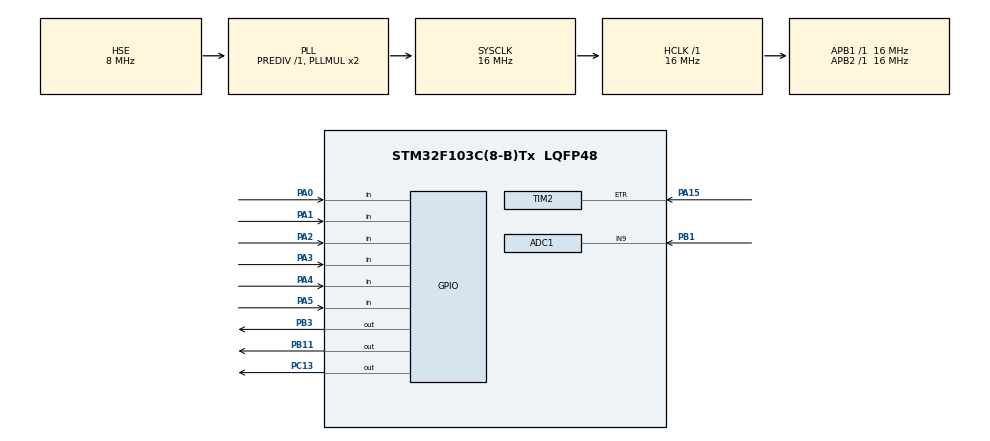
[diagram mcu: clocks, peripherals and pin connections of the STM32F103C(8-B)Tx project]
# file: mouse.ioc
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ADC1.Channel-0\#ChannelRegularConversion=ADC_CHANNEL_9
ADC1.ContinuousConvMode=DISABLE
ADC1.DataAlign=ADC_DATAALIGN_RIGHT
ADC1.DiscontinuousConvMode=DISABLE
ADC1.EnableAnalogWatchDog=false
ADC1.EnableRegularConversion=ENABLE
ADC1.ExternalTrigConv=ADC_SOFTWARE_START
ADC1.InjNumberOfConversion=0
ADC1.NbrOfConversion=1
ADC1.NbrOfConversionFlag=1
ADC1.Rank-0\#ChannelRegularConversion=1
ADC1.SamplingTime-0\#ChannelRegularConversion=ADC_SAMPLETIME_1CYCLE_5
ADC1.ScanConvMode=ADC_SCAN_DISABLE
ADC1.master=1
Mcu.Family=STM32F1
Mcu.Name=STM32F103C(8-B)Tx
Mcu.Package=LQFP48
NVIC.PriorityGroup=NVIC_PRIORITYGROUP_4
NVIC.TIM3_IRQn=true\:0\:0\:false\:false\:true\:true
PA0-WKUP.GPIO_PuPd=GPIO_PULLDOWN
PA0-WKUP.Signal=GPIO_Input
PA1.GPIO_PuPd=GPIO_PULLDOWN
PA1.Signal=GPIO_Input
PA13.Mode=Serial_Wire
PA13.Signal=SYS_JTMS-SWDIO
PA14.Mode=Serial_Wire
PA14.Signal=SYS_JTCK-SWCLK
PA15.GPIO_PuPd=GPIO_PULLUP
PA15.Signal=S_TIM2_CH1_ETR
PA2.Signal=GPIO_Input
PA3.Signal=GPIO_Input
PA4.Signal=GPIO_Input
PA5.Signal=GPIO_Input
PB1.Signal=ADCx_IN9
PB11.GPIO_ModeDefaultOutputPP=GPIO_MODE_OUTPUT_OD
PB11.PinState=GPIO_PIN_SET
PB11.Signal=GPIO_Output
PB3.GPIO_ModeDefaultOutputPP=GPIO_MODE_OUTPUT_OD
PB3.PinState=GPIO_PIN_SET
PB3.Signal=GPIO_Output
PC13-TAMPER-RTC.GPIO_ModeDefaultOutputPP=GPIO_MODE_OUTPUT_OD
PC13-TAMPER-RTC.PinState=GPIO_PIN_SET
PC13-TAMPER-RTC.Signal=GPIO_Output
PC14-OSC32_IN.Mode=LSE-External-Oscillator
PC14-OSC32_IN.Signal=RCC_OSC32_IN
PC15-OSC32_OUT.Mode=LSE-External-Oscillator
PC15-OSC32_OUT.Signal=RCC_OSC32_OUT
PD0-OSC_IN.Mode=HSE-External-Oscillator
PD0-OSC_IN.Signal=RCC_OSC_IN
PD1-OSC_OUT.Mode=HSE-External-Oscillator
PD1-OSC_OUT.Signal=RCC_OSC_OUT
ProjectManager.HeapSize=0x200
ProjectManager.StackSize=0x400
ProjectManager.TargetToolchain=SW4STM32
RCC.AHBFreq_Value=16000000
RCC.APB1Freq_Value=16000000
RCC.APB1TimFreq_Value=16000000
RCC.APB2Freq_Value=16000000
RCC.APB2TimFreq_Value=16000000
RCC.HCLKFreq_Value=16000000
RCC.PLLSourceVirtual=RCC_PLLSOURCE_HSE
RCC.RTCClockSelection=RCC_RTCCLKSOURCE_LSE
RCC.SYSCLKFreq_VALUE=16000000
RCC.SYSCLKSource=RCC_SYSCLKSOURCE_PLLCLK
RCC.USBFreq_Value=16000000
RTC.Format=RTC_FORMAT_BIN
RTC.Year=1
SH.ADCx_IN9.0=ADC1_IN9,IN9
SH.S_TIM2_CH1_ETR.0=TIM2_ETR,ClockSourceETR_Mode2
TIM2.ClockPolarity=TIM_CLOCKPOLARITY_INVERTED
TIM2.Period=0xffff
TIM3.Period=999
TIM3.Prescaler=15999
VP_ADC1_TempSens_Input.Mode=IN-TempSens
VP_ADC1_Vref_Input.Mode=IN-Vrefint
VP_RTC_No_RTC_Output.Mode=RTC_OUT_NO
VP_RTC_VS_RTC_Activate.Mode=RTC_Enabled
VP_TIM3_VS_ClockSourceINT.Mode=Internal
board=mouse

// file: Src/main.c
/**
  ******************************************************************************
  * @file           : main.c
  * @brief          : Main program body
  ******************************************************************************
  ** This notice applies to any and all portions of this file
  * that are not between comment pairs USER CODE BEGIN and
  * USER CODE END. Other portions of this file, whether
  * inserted by the user or by software development tools
  * are owned by their respective copyright owners.
  *
  * COPYRIGHT(c) 2018 STMicroelectronics
  *
  * Redistribution and use in source and binary forms, with or without modification,
  * are permitted provided that the following conditions are met:
  *   1. Redistributions of source code must retain the above copyright notice,
  *      this list of conditions and the following disclaimer.
  *   2. Redistributions in binary form must reproduce the above copyright notice,
  *      this list of conditions and the following disclaimer in the documentation
  *      and/or other materials provided with the distribution.
  *   3. Neither the name of STMicroelectronics nor the names of its contributors
  *      may be used to endorse or promote products derived from this software
  *      without specific prior written permission.
  *
  * THIS SOFTWARE IS PROVIDED BY THE COPYRIGHT HOLDERS AND CONTRIBUTORS "AS IS"
  * AND ANY EXPRESS OR IMPLIED WARRANTIES, INCLUDING, BUT NOT LIMITED TO, THE
  * IMPLIED WARRANTIES OF MERCHANTABILITY AND FITNESS FOR A PARTICULAR PURPOSE ARE
  * DISCLAIMED. IN NO EVENT SHALL THE COPYRIGHT HOLDER OR CONTRIBUTORS BE LIABLE
  * FOR ANY DIRECT, INDIRECT, INCIDENTAL, SPECIAL, EXEMPLARY, OR CONSEQUENTIAL
  * DAMAGES (INCLUDING, BUT NOT LIMITED TO, PROCUREMENT OF SUBSTITUTE GOODS OR
  * SERVICES; LOSS OF USE, DATA, OR PROFITS; OR BUSINESS INTERRUPTION) HOWEVER
  * CAUSED AND ON ANY THEORY OF LIABILITY, WHETHER IN CONTRACT, STRICT LIABILITY,
  * OR TORT (INCLUDING NEGLIGENCE OR OTHERWISE) ARISING IN ANY WAY OUT OF THE USE
  * OF THIS SOFTWARE, EVEN IF ADVISED OF THE POSSIBILITY OF SUCH DAMAGE.
  *
  ******************************************************************************
  */
#include "main.h"
#include "stm32f1xx_hal.h"

/* USER CODE BEGIN Includes */

#include "ssd1306.h"
#include "rtc32.h"

/* USER CODE END Includes */

ADC_HandleTypeDef hadc1;

RTC_HandleTypeDef hrtc;

TIM_HandleTypeDef htim2;
TIM_HandleTypeDef htim3;

/* USER CODE BEGIN PV */
/* Private variables ---------------------------------------------------------*/

//>>>>>>>>>>>>>>>>>>>>>>>>>>>>>>>>>>>>>>>>>>>>>>>>>>>>>>>>>>>>>>>>>>>>>>>>>>>>>>>>>>>>>>>>>>>>>>>>

#define BOARD_LED_OFF  (HAL_GPIO_WritePin(GPIOC, GPIO_PIN_13, GPIO_PIN_SET))
#define BOARD_LED_ON   (HAL_GPIO_WritePin(GPIOC, GPIO_PIN_13, GPIO_PIN_RESET))

#define BAT_DIV_OFF  (HAL_GPIO_WritePin(GPIOB, GPIO_PIN_11, GPIO_PIN_SET))
#define BAT_DIV_ON  (HAL_GPIO_WritePin(GPIOB, GPIO_PIN_11, GPIO_PIN_RESET))

#define HV_OFF  (HAL_GPIO_WritePin(GPIOB, GPIO_PIN_3, GPIO_PIN_SET))
#define HV_ON  (HAL_GPIO_WritePin(GPIOB, GPIO_PIN_3, GPIO_PIN_RESET))

#define BUTTON_1  (HAL_GPIO_ReadPin(GPIOA, GPIO_PIN_0))
#define BUTTON_2  (HAL_GPIO_ReadPin(GPIOA, GPIO_PIN_1))

#define GEIGER_TIME 75

uint16_t radimp[GEIGER_TIME+1];   //pulse counter

uint32_t glog[128];

char strbuff[32];

volatile uint32_t gflag=0;   // flag - auto 1Hz - got geiger counter data
volatile uint32_t gcnt=0;    // counter - geiger counter data for the previous second
volatile uint32_t sescnt=0;  // counter - duration of the current session

//^^^^^^^^^^^^^^^^^^^^^^^^^^^^^^^^^^^^^^^^^^^^^^^^^^^^^^^^^^^^^^^^^^^^^^^^^^^^^^^^^^^^^^^^^^^^^^^^^
/* USER CODE END PV */

void SystemClock_Config(void);
static void MX_GPIO_Init(void);
static void MX_ADC1_Init(void);
static void MX_RTC_Init(void);
static void MX_TIM3_Init(void);
static void MX_TIM2_Init(void);

/* USER CODE BEGIN PFP */
/* Private function prototypes -----------------------------------------------*/

//>>>>>>>>>>>>>>>>>>>>>>>>>>>>>>>>>>>>>>>>>>>>>>>>>>>>>>>>>>>>>>>>>>>>>>>>>>>>>>>>>>>>>>>>>>>>>>>>>

uint16_t get_bat(uint16_t vdd);
uint16_t get_vdd(void);
uint16_t get_adc(uint32_t channel, uint16_t samples);
void sys_standby(void);

void sys_init(void);
uint8_t button1_h(void);
uint8_t button2_h(void);

//^^^^^^^^^^^^^^^^^^^^^^^^^^^^^^^^^^^^^^^^^^^^^^^^^^^^^^^^^^^^^^^^^^^^^^^^^^^^^^^^^^^^^^^^^^^^^^^^^
/* USER CODE END PFP */

/* USER CODE BEGIN 0 */
//>>>>>>>>>>>>>>>>>>>>>>>>>>>>>>>>>>>>>>>>>>>>>>>>>>>>>>>>>>>>>>>>>>>>>>>>>>>>>>>>>>>>>>>>>>>>>>>>>

//-----------------------------------------------------------------------------
uint16_t get_adc(uint32_t channel, uint16_t samples)
    {

    ADC_ChannelConfTypeDef sConfig;

    sConfig.Channel = channel;
    sConfig.Rank = ADC_REGULAR_RANK_1;
    sConfig.SamplingTime = ADC_SAMPLETIME_239CYCLES_5;
    HAL_ADC_ConfigChannel(&hadc1, &sConfig);

    uint32_t tempdata = 0;

    for (uint16_t n=0; n<samples; n++)
      {
        HAL_ADC_Start(&hadc1);
        HAL_ADC_PollForConversion(&hadc1, 100);
        if(n) tempdata += HAL_ADC_GetValue(&hadc1);
        HAL_ADC_Stop(&hadc1);
      }

    tempdata /= samples-1;

    return (uint16_t)tempdata;
    }

//-----------------------------------------------------------------------------
uint16_t get_vdd(void)
    {
    uint16_t vrefint = get_adc(ADC_CHANNEL_VREFINT, 256);

    static uint16_t olddata = 0;

    if ((olddata == 0)
     || (vrefint == 0)
     || (vrefint == 4095)
     || (vrefint > olddata + 1)
     || (vrefint < olddata - 1))  { olddata = vrefint; }

    uint16_t vdd = 0;
    if(olddata) vdd=((1207*4095)/olddata);
    return vdd;
    }

//-----------------------------------------------------------------------------
uint16_t get_bat(uint16_t vdd)
    {
    uint16_t battery = get_adc(ADC_CHANNEL_9, 256);

    static uint16_t olddata = 0;

    if ((olddata == 0)
     || (battery == 0)
     || (battery == 4095)
     || (battery > olddata + 1)
     || (battery < olddata - 1))  { olddata = battery; }

    uint16_t bat = ((olddata*vdd)/4095)*2.010;
    return bat;
    }

//-----------------------------------------------------------------------------
uint8_t button1_h(void)
    {
    static uint8_t old=0;
    uint8_t new = BUTTON_1;

    if(new!=old)
        {
        HAL_Delay(50);
        new = BUTTON_1;
        if(new!=old) old=new;
        }
    return old;
    }

//-----------------------------------------------------------------------------
uint8_t button2_h(void)
    {
    static uint8_t old=0;
    uint8_t new = BUTTON_2;

    if(new!=old)
        {
        HAL_Delay(50);
        new = BUTTON_2;
        if(new!=old) old=new;
        }
    return old;
    }

//-----------------------------------------------------------------------------
void sys_backup(uint32_t newttot, uint32_t newdtot, uint8_t oledbright)
    {
    HAL_PWR_EnableBkUpAccess();
    __HAL_RCC_BKP_CLK_ENABLE();

    HAL_RTCEx_BKUPWrite(&hrtc, RTC_BKP_DR2, newttot>>16);  //write backup data
    HAL_RTCEx_BKUPWrite(&hrtc, RTC_BKP_DR3, newttot);

    HAL_RTCEx_BKUPWrite(&hrtc, RTC_BKP_DR4, newdtot>>16);
    HAL_RTCEx_BKUPWrite(&hrtc, RTC_BKP_DR5, newdtot);

    HAL_RTCEx_BKUPWrite(&hrtc, RTC_BKP_DR6, oledbright);

    HAL_PWR_DisableBkUpAccess();
    __HAL_RCC_BKP_CLK_DISABLE();
    }

//-----------------------------------------------------------------------------
void draw_graph(void)
    {
    const uint8_t hight = 10;
    const uint8_t x = 0;
    const uint8_t y = 63;

    for(uint8_t k=0; k<75; k++)
        {
        uint8_t rm = radimp[k+1]/hight;
        if(rm>hight-1) rm=hight-1;

        uint8_t rm0 = radimp[k]/hight;
        if(rm0>hight-1) rm0=hight-1;

        if(k) oled_line(k-1+x,   y-(hight+1)-(radimp[k]%hight),
                        k+x,     y-(hight+1)-(radimp[k+1]%hight)); //draw top graph

        oled_line(k-1+x, y-hight+rm0+1,
                  k+x,   y-hight+rm+1);  //bottom part of graph
        }
    }

//-----------------------------------------------------------------------------
void draw_graph2(void)
    {
    const uint8_t hight = 11;
    const uint8_t y = 35;

    uint32_t max = 0;

    for(uint8_t i=0; i<128; i++)
        {
        if(glog[i]>max) max=glog[i];
        }

    uint32_t div = max/hight;

    for(uint8_t i=0; i<(128-1); i++)
        {
        uint32_t t = glog[i]/(div+1);
        uint32_t t2 = glog[i+1]/(div+1);

        oled_line(i, y-t, i+1, y-t2);

        if(i%2) oled_pixel(i, y+4);
        if(!(i%30)) oled_pixel(i+1, y+3);
        }

    oled_pixel(127, y+4);

    sprintf(strbuff, "x%lu",div+1);
    oled_print(0, y+16, strbuff);
    }

//-----------------------------------------------------------------------------
void sys_standby(void)
    {
    RCC->APB1ENR |= RCC_APB1ENR_PWREN;  // Enable PWR module
    SCB->SCR |= SCB_SCR_SLEEPDEEP_Msk;  // Set SLEEPDEEP bit of Cortex System Control Register
    PWR->CR |= PWR_CR_PDDS;             // Select Standby mode
    PWR->CR |= PWR_CR_CWUF;             // Clear the WUF Wakeup Flag
    PWR->CSR |= PWR_CSR_EWUP;           // Enable WKUP pin
    __WFI();                            // Wait For Interrupt
    }

//-----------------------------------------------------------------------------
void sys_init(void)
    {
    HV_ON;      // HV converter circuit
    BAT_DIV_ON; // battery divider circuit

    HAL_ADCEx_Calibration_Start(&hadc1);  // ADC self-calibration

    HAL_TIM_Base_Start(&htim2);           // start pulse counter
    HAL_TIM_Base_Start_IT(&htim3);        // start 1sec timer

    oled_init();         // display init
    oled_char(0,7,128);
    oled_update();

    while(button1_h());
    HAL_Delay(50);
    }

//=============================================================================
void HAL_TIM_PeriodElapsedCallback(TIM_HandleTypeDef *htim3)  // 1 Hz interrupt
    {
    if(gflag)  { gcnt += htim2.Instance->CNT; }
    else       { gcnt = htim2.Instance->CNT;  }

    htim2.Instance->CNT = 0;  //clear the cnt register

    sescnt++;

    gflag=1;
    }

//^^^^^^^^^^^^^^^^^^^^^^^^^^^^^^^^^^^^^^^^^^^^^^^^^^^^^^^^^^^^^^^^^^^^^^^^^^^^^^^^^^^^^^^^^^^^^^^^^
/* USER CODE END 0 */

int main(void)
{

  /* MCU Configuration----------------------------------------------------------*/

  /* Reset of all peripherals, Initializes the Flash interface and the Systick. */
  HAL_Init();

  /* Configure the system clock */
  SystemClock_Config();

  /* Initialize all configured peripherals */
  MX_GPIO_Init();
  MX_ADC1_Init();
  MX_RTC_Init();
  MX_TIM3_Init();
  MX_TIM2_Init();

  /* Infinite loop */
  /* USER CODE BEGIN WHILE */
  //>>>>>>>>>>>>>>>>>>>>>>>>>>>>>>>>>>>>>>>>>>>>>>>>>>>>>>>>>>>>>>>>>>>>>>>>>>>>>>>>>>>>>>>>>>>>>>>

  //watchdog //xxx

  sys_init();

  uint8_t df = 0;  //display flag
  uint8_t pf = 0;  //poweroff flag

  uint8_t batlow = 0;   //battery low flag
  uint8_t batfail = 0;  //battery fail

  uint8_t ff=0;    //hardware fail flag
  uint8_t fcnt=0;

  uint8_t smode = 0;  //main screen mode
  uint8_t mmenu = 0;  //main menu

  uint8_t ssmenu = 0; //settigs menu
  uint8_t dtmenu = 0;
  uint8_t crmenu = 0;

  uint16_t oledbright = 0x0000;

  uint16_t sysvdd = 0x0000;   //Vdd
  uint16_t sysbat = 0x0000;   //Vbat

  uint32_t rate = 0x00000000;  //doserate
  uint32_t maxrate = 0x00000000; //peak doserate

  uint32_t gses = 0x00000000;  // total of pulses in the current session

  srtc_date_typedef srtc;   //current date and time
  srtc_date_typedef newsrtc;   //new date and time

  uint32_t sestime = 0;  // duration of the current session
  uint32_t tottime = 0;  // total duration of work (from bkp)
  uint32_t sesdose = 0;  // session dose
  uint32_t totdose = 0;  // total dose (from bkp)

  tottime = (HAL_RTCEx_BKUPRead(&hrtc, RTC_BKP_DR2)<<16) + HAL_RTCEx_BKUPRead(&hrtc, RTC_BKP_DR3);
  totdose = (HAL_RTCEx_BKUPRead(&hrtc, RTC_BKP_DR4)<<16) + HAL_RTCEx_BKUPRead(&hrtc, RTC_BKP_DR5);

  oledbright = HAL_RTCEx_BKUPRead(&hrtc, RTC_BKP_DR6);
  oled_bright(oledbright);

  while(1)
    {
  //^^^^^^^^^^^^^^^^^^^^^^^^^^^^^^^^^^^^^^^^^^^^^^^^^^^^^^^^^^^^^^^^^^^^^^^^^^^^^^^^^^^^^^^^^^^^^^^
  /* USER CODE END WHILE */

  /* USER CODE BEGIN 3 */
  //>>>>>>>>>>>>>>>>>>>>>>>>>>>>>>>>>>>>>>>>>>>>>>>>>>>>>>>>>>>>>>>>>>>>>>>>>>>>>>>>>>>>>>>>>>>>>>>
    if(gflag==1 && pf==0)  //-----------------> calculation <------------------
        {
        radimp[0] = (uint16_t)gcnt;
        for(uint8_t k=GEIGER_TIME; k>0; k--) radimp[k]=radimp[k-1]; //shift

        uint32_t tmprate=0;
        for(uint8_t k=GEIGER_TIME; k>0; k--) tmprate+=radimp[k]; //dose rate
        if(tmprate>999999) tmprate=999999; //overflow
        rate=tmprate;

        if(tmprate>maxrate) maxrate=tmprate;   //peak

        gses+=radimp[0];
        if(gses>999999UL*3600/GEIGER_TIME) gses=999999UL*3600/GEIGER_TIME;  //overflow

        sesdose = (gses*GEIGER_TIME/3600);   //dose

        sestime = sescnt;

        glog[0]=rate; //write log
        if(!(sestime%60)) for(uint8_t k=127; k>0; k--) glog[k]=glog[k-1]; //shift log

        counter_to_date(get_rtc_cnt(), &srtc);   //get date and time

        sysvdd = get_vdd();          // get Vdd
        sysbat = get_bat(sysvdd);    // get Vbat

        if(sysbat<3400) batlow=1;
        if(sysbat>3500) batlow=0;
        if(sysbat<3000) batfail=1;  // battery less than 3V

        if(radimp[0]==0)  // if no pulses
            {
            if(fcnt<GEIGER_TIME) fcnt++;
            else
                {
                ff=1;    //set flag - harware fail
                HV_OFF;  //turn off HV converter
                }
            }
        else fcnt=0;

        gflag=0;
        df=0;
        }

    if(pf==1 || batfail==1)  //------------> turn off the system <-------------
        {
        if(batfail==1)
            {
            oled_clear();
            oled_print(0,10,"BATTERY LOW");
            oled_update();
            HAL_Delay(1000);
            }
        sys_backup(tottime+sestime, totdose+sesdose, oledbright);
        oled_off();
        sys_standby();
        }

    if(df==0)  //--------------------------> display <-------------------------
        {
        oled_clear();

        if(ff) oled_char(40,7,'!');
        if(batlow) oled_line(0,9,35,9);

        sprintf(strbuff, "%1u.%03u", sysbat/1000, sysbat%1000);  // print battery voltage
        oled_print(0,7,strbuff);
        oled_char(31,7,'V');

        sprintf(strbuff, "%0u-%02u-%02u", srtc.wday, srtc.mday, srtc.month);  // print date
        oled_print(48,7,strbuff);

        sprintf(strbuff, "%02u:%02u", srtc.hour, srtc.minute);  // print time
        oled_print(99,7,strbuff);

        if(smode==0)  ////////////////////  main screen  //////////////////////
            {
            sprintf(strbuff," %6lu uR", sesdose);
            oled_print(0,24,strbuff);

            sprintf(strbuff," %6lu uR/h", maxrate);
            oled_print(0,34,strbuff);

            draw_graph();

            sprintf(strbuff,"%lu", rate);
            if(rate<=9) oled_print16x30(94, 46, strbuff );
            else if(rate<=99) oled_print16x30(87, 46, strbuff );
            else if(rate<=999) oled_print16x30(80, 46, strbuff );
            else oled_print(87, 34, strbuff );

            uint8_t tday = (sestime/86400)%100; //99 days max
            uint8_t thour = (sestime/3600)%24;
            uint8_t tminute = (sestime/60)%60;

            sprintf(strbuff, "%02u-%02u:%02u", tday, thour, tminute);
            oled_print(81,63,strbuff);
            }

        if(smode==1 && mmenu==0)  ///////////////  secondary screen  //////////////////
            {
            sprintf(strbuff, "%1u.%03u", sysvdd/1000, sysvdd%1000);  // print Vdd
            oled_print(0,19,strbuff);
            oled_char(31,19,'V');

            sprintf(strbuff, "-%04u", srtc.year);
            oled_print(60,18,strbuff);

            sprintf(strbuff, ":%02u", srtc.second);
            oled_print(111,18,strbuff);

            draw_graph2();

            sprintf(strbuff, "%10lu uR", totdose+sesdose);  //tot dose
            oled_print(0,63,strbuff);

            uint32_t newttot=tottime+sestime;
            uint16_t tday = (newttot/86400)%10000; //9999 days max
            uint8_t thour = (newttot/3600)%24;
            uint8_t tminute = (newttot/60)%60;

            sprintf(strbuff, "%4u", tday);  //tot day of work  //tot time of work
            oled_print(105,52,strbuff);

            sprintf(strbuff, "%02u:%02u", thour, tminute);
            oled_print(99,63,strbuff);
            }

        if(smode==1 && mmenu>0 && dtmenu==0  && crmenu==0 && ssmenu==0)  //////  Main menu  //////
            {
            newsrtc=srtc;  //update the data before setup entering

            oled_print(7,25,"General Settings");
            oled_print(7,37,"Set Date & Time");
            oled_print(7,49,"Clear Data");

            if(mmenu==1) oled_char(0,25,'>');
            if(mmenu==2) oled_char(0,37,'>');
            if(mmenu==3)
                {
                oled_char(0,49,'>');
                oled_print(98,63,"^exit"); //help
                }
            else oled_print(98,63,"^down"); //help

            }

        if(smode==1 && mmenu==1 && ssmenu>0)  //////  draw System Settings menu  ///////
            {
            sprintf(strbuff, "%03u", oledbright);
            oled_print(104,25,strbuff);
            oled_print(7,25,"Brightness");

            oled_print(7,37,"Run HV Converter");

            if(ssmenu==1) oled_char(0,25,'>');
            if(ssmenu==2) oled_char(0,37,'>');

            oled_print(86,63,"^change"); //help
            }

        if(smode==1 && mmenu==2 && dtmenu>0)  //////  draw Set Date and Time menu  /////
            {
            sprintf(strbuff, "-%04u", srtc.year);
            oled_print(59,18,strbuff);

            sprintf(strbuff, ":%02u", srtc.second);
            oled_print(110,18,strbuff);

            sprintf(strbuff, "%02u-%02u", newsrtc.mday, newsrtc.month);
            oled_print(59,35,strbuff);

            sprintf(strbuff, "%02u:%02u", newsrtc.hour, newsrtc.minute);
            oled_print(98,35,strbuff);

            sprintf(strbuff, "-%04u", newsrtc.year);
            oled_print(59,46,strbuff);

            sprintf(strbuff, ":%02u", newsrtc.second);
            oled_print(110,46,strbuff);

            if(dtmenu==1) { oled_char_inv(58,35,13); }  //invert selected item
            if(dtmenu==2) { oled_char_inv(76,35,13); }
            if(dtmenu==3) { oled_char_inv(64,46,25); }
            if(dtmenu==4) { oled_char_inv(97,35,13); }
            if(dtmenu==5) { oled_char_inv(115,35,13); }
            if(dtmenu==6) { oled_char_inv(115,46,13); }

            oled_print(86,63,"^change"); //help
            }

        if(smode==1 && mmenu==3 && crmenu>0)  ///////  draw the Clear Data menu  ///////
            {
            oled_print(7,25,"Current Dose Rate");
            oled_print(7,37,"Total Dose & Time");

            if(crmenu==1) oled_char(0,25,'>');
            if(crmenu==2) oled_char(0,37,'>');

            oled_print(93,63,"^clear"); //help
            }

        oled_update();
        df=1;
        }  // end of Display

    HAL_PWR_EnterSLEEPMode(PWR_MAINREGULATOR_ON, PWR_SLEEPENTRY_WFI);  //power down

    if(button1_h())  //------------------------>  button #1  <---------------------------
        {
        while(button1_h());

        if(smode==0)  //system off
            {
            pf=1;
            }

        if(smode==1)  //enter the main menu
            {
            if(dtmenu==0 && crmenu==0 && ssmenu==0)
                {
                if(++mmenu>3) mmenu=0;  // switching the main menu items
                }

            if(mmenu==1)  // General Settigs
                {
                if(ssmenu==1)  //display brightness
                    {
                    if((oledbright+=50)>250) oledbright=0;
                    oled_bright(oledbright);
                    }
                if(ssmenu==2)
                    {
                    fcnt=0;
                    ff=0;
                    HV_ON;
                    ssmenu=0; //clr for exit
                    mmenu=0;
                    smode=0;
                    }
                }

            if(mmenu==2)  //Set Date and Time
                {
                if(dtmenu==1)  { if(++newsrtc.mday>31)   newsrtc.mday=1;    }
                if(dtmenu==2)  { if(++newsrtc.month>12)  newsrtc.month=1;   }
                if(dtmenu==3)  { if(++newsrtc.year>2050) newsrtc.year=2018; }
                if(dtmenu==4)  { if(++newsrtc.hour>23)   newsrtc.hour=0;    }
                if(dtmenu==5)  { if(++newsrtc.minute>59) newsrtc.minute=0;  }
                if(dtmenu==6)  { newsrtc.second=0; }
                }

            if(mmenu==3)  //Clear Data
                {
                if(crmenu==1) //clear current dose rate
                    {
                    for(uint8_t k=0; k<(GEIGER_TIME+1); k++) radimp[k]=0;
                    maxrate=0;
                    rate=0;
                    crmenu=0; //clr for exit
                    mmenu=0;
                    smode=0;
                    }

                if(crmenu==2) //clear total dose and time
                    {
                    sescnt=0;  //clr timer
                    sestime=0;
                    tottime=0;
                    gses=0;    //clr dose
                    sesdose=0;
                    totdose=0;
                    crmenu=0;  //clr for exit
                    mmenu=0;
                    }
                }

            df=0;
            }
        }

    if(button2_h() && pf==0)  //--------------------> button #2  <-----------------------
        {
        while(button2_h());

        if(smode==0 || (smode==1 && mmenu==0))  // switching screens
            {
            if(++smode>1) smode=0;
            }

        if(smode==1 && mmenu==1)  // switching System Settings menu items
            {
            if(++ssmenu>2)
                {
                ssmenu=0;
                }
            }

        if(smode==1 && mmenu==2)  // switching the Set Time and Date menu items
            {
            if(++dtmenu>6)
                {
                dtmenu=0;
                write_rtc_cnt(date_to_counter(&newsrtc));  // save data
                srtc=newsrtc;
                }
            }

        if(smode==1 && mmenu==3)  // switching the Clear Menu items
            {
            if(++crmenu>2)
                {
                crmenu=0;
                }
            }

        df=0;
        }
    }  //end of main loop
  //^^^^^^^^^^^^^^^^^^^^^^^^^^^^^^^^^^^^^^^^^^^^^^^^^^^^^^^^^^^^^^^^^^^^^^^^^^^^^^^^^^^^^^^^^^^^^^^
  /* USER CODE END 3 */

}

void SystemClock_Config(void)
{

  RCC_OscInitTypeDef RCC_OscInitStruct;
  RCC_ClkInitTypeDef RCC_ClkInitStruct;
  RCC_PeriphCLKInitTypeDef PeriphClkInit;

    /**Initializes the CPU, AHB and APB busses clocks
    */
  RCC_OscInitStruct.OscillatorType = RCC_OSCILLATORTYPE_HSE|RCC_OSCILLATORTYPE_LSE;
  RCC_OscInitStruct.HSEState = RCC_HSE_ON;
  RCC_OscInitStruct.HSEPredivValue = RCC_HSE_PREDIV_DIV1;
  RCC_OscInitStruct.LSEState = RCC_LSE_ON;
  RCC_OscInitStruct.HSIState = RCC_HSI_ON;
  RCC_OscInitStruct.PLL.PLLState = RCC_PLL_ON;
  RCC_OscInitStruct.PLL.PLLSource = RCC_PLLSOURCE_HSE;
  RCC_OscInitStruct.PLL.PLLMUL = RCC_PLL_MUL2;
  if (HAL_RCC_OscConfig(&RCC_OscInitStruct) != HAL_OK)
  {
    _Error_Handler(__FILE__, __LINE__);
  }

    /**Initializes the CPU, AHB and APB busses clocks
    */
  RCC_ClkInitStruct.ClockType = RCC_CLOCKTYPE_HCLK|RCC_CLOCKTYPE_SYSCLK
                              |RCC_CLOCKTYPE_PCLK1|RCC_CLOCKTYPE_PCLK2;
  RCC_ClkInitStruct.SYSCLKSource = RCC_SYSCLKSOURCE_PLLCLK;
  RCC_ClkInitStruct.AHBCLKDivider = RCC_SYSCLK_DIV1;
  RCC_ClkInitStruct.APB1CLKDivider = RCC_HCLK_DIV1;
  RCC_ClkInitStruct.APB2CLKDivider = RCC_HCLK_DIV1;

  if (HAL_RCC_ClockConfig(&RCC_ClkInitStruct, FLASH_LATENCY_0) != HAL_OK)
  {
    _Error_Handler(__FILE__, __LINE__);
  }

  PeriphClkInit.PeriphClockSelection = RCC_PERIPHCLK_RTC|RCC_PERIPHCLK_ADC;
  PeriphClkInit.RTCClockSelection = RCC_RTCCLKSOURCE_LSE;
  PeriphClkInit.AdcClockSelection = RCC_ADCPCLK2_DIV2;
  if (HAL_RCCEx_PeriphCLKConfig(&PeriphClkInit) != HAL_OK)
  {
    _Error_Handler(__FILE__, __LINE__);
  }

    /**Configure the Systick interrupt time
    */
  HAL_SYSTICK_Config(HAL_RCC_GetHCLKFreq()/1000);

    /**Configure the Systick
    */
  HAL_SYSTICK_CLKSourceConfig(SYSTICK_CLKSOURCE_HCLK);

  /* SysTick_IRQn interrupt configuration */
  HAL_NVIC_SetPriority(SysTick_IRQn, 0, 0);
}

/* ADC1 init function */
static void MX_ADC1_Init(void)
{

  ADC_ChannelConfTypeDef sConfig;

    /**Common config
    */
  hadc1.Instance = ADC1;
  hadc1.Init.ScanConvMode = ADC_SCAN_DISABLE;
  hadc1.Init.ContinuousConvMode = DISABLE;
  hadc1.Init.DiscontinuousConvMode = DISABLE;
  hadc1.Init.ExternalTrigConv = ADC_SOFTWARE_START;
  hadc1.Init.DataAlign = ADC_DATAALIGN_RIGHT;
  hadc1.Init.NbrOfConversion = 1;
  if (HAL_ADC_Init(&hadc1) != HAL_OK)
  {
    _Error_Handler(__FILE__, __LINE__);
  }

    /**Configure Regular Channel
    */
  sConfig.Channel = ADC_CHANNEL_9;
  sConfig.Rank = ADC_REGULAR_RANK_1;
  sConfig.SamplingTime = ADC_SAMPLETIME_1CYCLE_5;
  if (HAL_ADC_ConfigChannel(&hadc1, &sConfig) != HAL_OK)
  {
    _Error_Handler(__FILE__, __LINE__);
  }

}

/* RTC init function */
static void MX_RTC_Init(void)
{

  RTC_TimeTypeDef sTime;
  RTC_DateTypeDef DateToUpdate;

    /**Initialize RTC Only
    */
  hrtc.Instance = RTC;
  if(HAL_RTCEx_BKUPRead(&hrtc, RTC_BKP_DR1) != 0x32F2){
  hrtc.Init.AsynchPrediv = RTC_AUTO_1_SECOND;
  hrtc.Init.OutPut = RTC_OUTPUTSOURCE_NONE;
  if (HAL_RTC_Init(&hrtc) != HAL_OK)
  {
    _Error_Handler(__FILE__, __LINE__);
  }

    /**Initialize RTC and set the Time and Date
    */
  sTime.Hours = 1;
  sTime.Minutes = 0;
  sTime.Seconds = 0;

  if (HAL_RTC_SetTime(&hrtc, &sTime, RTC_FORMAT_BIN) != HAL_OK)
  {
    _Error_Handler(__FILE__, __LINE__);
  }

  DateToUpdate.WeekDay = RTC_WEEKDAY_MONDAY;
  DateToUpdate.Month = RTC_MONTH_JANUARY;
  DateToUpdate.Date = 1;
  DateToUpdate.Year = 1;

  if (HAL_RTC_SetDate(&hrtc, &DateToUpdate, RTC_FORMAT_BIN) != HAL_OK)
  {
    _Error_Handler(__FILE__, __LINE__);
  }

    HAL_RTCEx_BKUPWrite(&hrtc,RTC_BKP_DR1,0x32F2);
  }

}

/* TIM2 init function */
static void MX_TIM2_Init(void)
{

  TIM_ClockConfigTypeDef sClockSourceConfig;
  TIM_MasterConfigTypeDef sMasterConfig;

  htim2.Instance = TIM2;
  htim2.Init.Prescaler = 0;
  htim2.Init.CounterMode = TIM_COUNTERMODE_UP;
  htim2.Init.Period = 0xffff;
  htim2.Init.ClockDivision = TIM_CLOCKDIVISION_DIV1;
  htim2.Init.AutoReloadPreload = TIM_AUTORELOAD_PRELOAD_DISABLE;
  if (HAL_TIM_Base_Init(&htim2) != HAL_OK)
  {
    _Error_Handler(__FILE__, __LINE__);
  }

  sClockSourceConfig.ClockSource = TIM_CLOCKSOURCE_ETRMODE2;
  sClockSourceConfig.ClockPolarity = TIM_CLOCKPOLARITY_INVERTED;
  sClockSourceConfig.ClockPrescaler = TIM_CLOCKPRESCALER_DIV1;
  sClockSourceConfig.ClockFilter = 0;
  if (HAL_TIM_ConfigClockSource(&htim2, &sClockSourceConfig) != HAL_OK)
  {
    _Error_Handler(__FILE__, __LINE__);
  }

  sMasterConfig.MasterOutputTrigger = TIM_TRGO_RESET;
  sMasterConfig.MasterSlaveMode = TIM_MASTERSLAVEMODE_DISABLE;
  if (HAL_TIMEx_MasterConfigSynchronization(&htim2, &sMasterConfig) != HAL_OK)
  {
    _Error_Handler(__FILE__, __LINE__);
  }

}

/* TIM3 init function */
static void MX_TIM3_Init(void)
{

  TIM_ClockConfigTypeDef sClockSourceConfig;
  TIM_MasterConfigTypeDef sMasterConfig;

  htim3.Instance = TIM3;
  htim3.Init.Prescaler = 15999;
  htim3.Init.CounterMode = TIM_COUNTERMODE_UP;
  htim3.Init.Period = 999;
  htim3.Init.ClockDivision = TIM_CLOCKDIVISION_DIV1;
  htim3.Init.AutoReloadPreload = TIM_AUTORELOAD_PRELOAD_DISABLE;
  if (HAL_TIM_Base_Init(&htim3) != HAL_OK)
  {
    _Error_Handler(__FILE__, __LINE__);
  }

  sClockSourceConfig.ClockSource = TIM_CLOCKSOURCE_INTERNAL;
  if (HAL_TIM_ConfigClockSource(&htim3, &sClockSourceConfig) != HAL_OK)
  {
    _Error_Handler(__FILE__, __LINE__);
  }

  sMasterConfig.MasterOutputTrigger = TIM_TRGO_RESET;
  sMasterConfig.MasterSlaveMode = TIM_MASTERSLAVEMODE_DISABLE;
  if (HAL_TIMEx_MasterConfigSynchronization(&htim3, &sMasterConfig) != HAL_OK)
  {
    _Error_Handler(__FILE__, __LINE__);
  }

}

/** Configure pins as
        * Analog
        * Input
        * Output
        * EVENT_OUT
        * EXTI
*/
static void MX_GPIO_Init(void)
{

  GPIO_InitTypeDef GPIO_InitStruct;

  /* GPIO Ports Clock Enable */
  __HAL_RCC_GPIOC_CLK_ENABLE();
  __HAL_RCC_GPIOD_CLK_ENABLE();
  __HAL_RCC_GPIOA_CLK_ENABLE();
  __HAL_RCC_GPIOB_CLK_ENABLE();

  /*Configure GPIO pin Output Level */
  HAL_GPIO_WritePin(GPIOC, GPIO_PIN_13, GPIO_PIN_SET);

  /*Configure GPIO pin Output Level */
  HAL_GPIO_WritePin(GPIOB, GPIO_PIN_11|GPIO_PIN_3, GPIO_PIN_SET);

  /*Configure GPIO pin : PC13 */
  GPIO_InitStruct.Pin = GPIO_PIN_13;
  GPIO_InitStruct.Mode = GPIO_MODE_OUTPUT_OD;
  GPIO_InitStruct.Speed = GPIO_SPEED_FREQ_LOW;
  HAL_GPIO_Init(GPIOC, &GPIO_InitStruct);

  /*Configure GPIO pins : PA0 PA1 */
  GPIO_InitStruct.Pin = GPIO_PIN_0|GPIO_PIN_1;
  GPIO_InitStruct.Mode = GPIO_MODE_INPUT;
  GPIO_InitStruct.Pull = GPIO_PULLDOWN;
  HAL_GPIO_Init(GPIOA, &GPIO_InitStruct);

  /*Configure GPIO pins : PA2 PA3 PA4 PA5 */
  GPIO_InitStruct.Pin = GPIO_PIN_2|GPIO_PIN_3|GPIO_PIN_4|GPIO_PIN_5;
  GPIO_InitStruct.Mode = GPIO_MODE_INPUT;
  GPIO_InitStruct.Pull = GPIO_NOPULL;
  HAL_GPIO_Init(GPIOA, &GPIO_InitStruct);

  /*Configure GPIO pins : PB11 PB3 */
  GPIO_InitStruct.Pin = GPIO_PIN_11|GPIO_PIN_3;
  GPIO_InitStruct.Mode = GPIO_MODE_OUTPUT_OD;
  GPIO_InitStruct.Speed = GPIO_SPEED_FREQ_LOW;
  HAL_GPIO_Init(GPIOB, &GPIO_InitStruct);

}

/* USER CODE BEGIN 4 */
//>>>>>>>>>>>>>>>>>>>>>>>>>>>>>>>>>>>>>>>>>>>>>>>>>>>>>>>>>>>>>>>>>>>>>>>>>>>>>>>>>>>>>>>>>>>>>>>>>
//^^^^^^^^^^^^^^^^^^^^^^^^^^^^^^^^^^^^^^^^^^^^^^^^^^^^^^^^^^^^^^^^^^^^^^^^^^^^^^^^^^^^^^^^^^^^^^^^^
/* USER CODE END 4 */

void _Error_Handler(char *file, int line)
{
  /* USER CODE BEGIN Error_Handler_Debug */
  /* User can add his own implementation to report the HAL error return state */
  //>>>>>>>>>>>>>>>>>>>>>>>>>>>>>>>>>>>>>>>>>>>>>>>>>>>>>>>>>>>>>>>>>>>>>>>>>>>>>>>>>>>>>
  //
  BOARD_LED_ON;  //xxx
  //
  while(1)
  {
  }
  //^^^^^^^^^^^^^^^^^^^^^^^^^^^^^^^^^^^^^^^^^^^^^^^^^^^^^^^^^^^^^^^^^^^^^^^^^^^^^^^^^^^^^
  /* USER CODE END Error_Handler_Debug */
}

/************************ (C) COPYRIGHT STMicroelectronics *****END OF FILE****/
